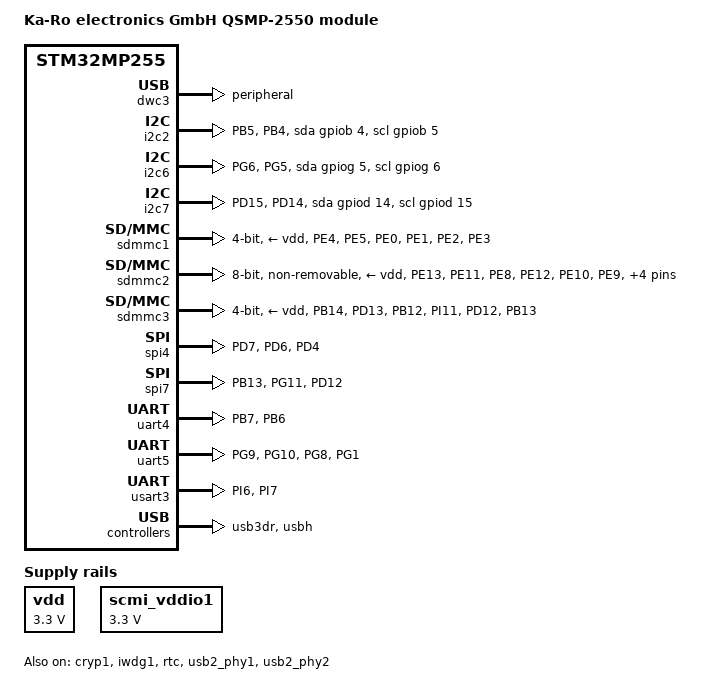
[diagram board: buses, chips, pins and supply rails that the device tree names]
// SPDX-License-Identifier: (GPL-2.0-only OR BSD-3-Clause)
/*
 * Copyright (C) 2024 Lothar Waßmann <LW@KARO-electronics.de>
 */

/dts-v1/;

#include <dt-bindings/gpio/gpio.h>
#include <dt-bindings/interrupt-controller/irq.h>
#include <dt-bindings/pinctrl/stm32-pinfunc.h>
#include <dt-bindings/regulator/nxp,pca9450-regulator.h>
#include "stm32mp25-karo-resmem.dtsi"
#include "stm32mp255.dtsi"
#include "stm32mp25xf.dtsi"
#include "stm32mp25xxak-pinctrl.dtsi"

/ {
	model = "Ka-Ro electronics GmbH QSMP-2550 module";
	compatible = "karo,stm32mp255f-qsmp-2550", "karo,qsmp", "st,stm32mp255";

	aliases {
		can0 = &m_can1;
		can1 = &m_can2;
		csi2host = &csi;
		dcmipp = &dcmipp;
		ethernet0 = &eth1;
		ethernet1 = &eth2;
		i2c0 = &i2c2;
		i2c1 = &i2c6;
		i2c2 = &i2c7;
		mmc0 = &sdmmc2;
		mmc1 = &sdmmc1;
		mmc2 = &sdmmc3;
		sai1 = &sai1;
		serial0 = &uart4;
		serial1 = &usart3;
		serial2 = &uart5;
		spi0 = &spi4;
		spi1 = &spi7;
		usb-host = &usbh;
		usbotg = &dwc3;
	};

	chosen {
		stdout-path = "serial0:115200n8";
	};

	vdd: regulator-vdd {
		compatible = "regulator-fixed";
		regulator-name = "vdd";
		regulator-min-microvolt = <3300000>;
		regulator-max-microvolt = <3300000>;
		regulator-always-on;
	};
};

&cryp1 {
	status = "okay";
};

&dwc3 {
	usb-role-switch;
	dr_mode = "peripheral";
};

&hpdma {
	memory-region = <&hpdma1_lli>;
};

&hpdma2 {
	memory-region = <&hpdma2_lli>;
};

&hpdma3 {
	memory-region = <&hpdma3_lli>;
};

&i2c2 {
	pinctrl-names = "default", "sleep";
	pinctrl-0 = <&i2c2_pins>;
	pinctrl-1 = <&i2c2_sleep_pins>;
	scl-gpios = <&gpiob 5 GPIO_ACTIVE_HIGH>;
	sda-gpios = <&gpiob 4 GPIO_ACTIVE_HIGH>;
	status = "okay";
};

&i2c6 {
	pinctrl-names = "default", "sleep";
	pinctrl-0 = <&i2c6_pins>;
	pinctrl-1 = <&i2c6_sleep_pins>;
	scl-gpios = <&gpiog 6 GPIO_ACTIVE_HIGH>;
	sda-gpios = <&gpiog 5 GPIO_ACTIVE_HIGH>;
	status = "okay";
};

&i2c7 {
	pinctrl-names = "default", "sleep";
	pinctrl-0 = <&i2c7_pins>;
	pinctrl-1 = <&i2c7_sleep_pins>;
	scl-gpios = <&gpiod 15 GPIO_ACTIVE_HIGH>;
	sda-gpios = <&gpiod 14 GPIO_ACTIVE_HIGH>;
	status = "okay";
};

&iwdg1 {
	status = "okay";
};

&rtc {
	status = "okay";
};

&scmi_regu {
	scmi_vddcore: voltd-vddcore@a {
		reg = <VOLTD_SCMI_PCA9450_BUCK1>;
		regulator-name = "vddcore";
	};

	scmi_v1v8: voltd-v1v8@e {
		reg = <VOLTD_SCMI_PCA9450_BUCK5>;
		regulator-name = "v1v8";
	};

	scmi_vddio_sdcard: voltd-vddio-sdcard@13 {
		reg = <VOLTD_SCMI_PCA9450_LDO3>;
		regulator-name = "vddio_sdcard";
	};
};

&scmi_vddio1 {
	regulator-min-microvolt = <3300000>;
	regulator-max-microvolt = <3300000>;
};

&sdmmc1 {
	/* SD card slot #1 */
	pinctrl-names = "default", "opendrain", "sleep";
	pinctrl-0 = <&sdmmc1_pins>;
	pinctrl-1 = <&sdmmc1_opendrain_pins>;
	pinctrl-2 = <&sdmmc1_sleep_pins>;
	disable-wp;
	st,neg-edge;
	bus-width = <4>;
	vmmc-supply = <&vdd>;
	vqmmc-supply = <&scmi_vddio1>;
	no-1-8-v;
};

&sdmmc2 {
	/* eMMC */
	pinctrl-names = "default", "opendrain", "sleep";
	pinctrl-0 = <&sdmmc2_pins>;
	pinctrl-1 = <&sdmmc2_opendrain_pins>;
	pinctrl-2 = <&sdmmc2_sleep_pins>;
	bus-width = <8>;
	vmmc-supply = <&vdd>;
	vqmmc-supply = <&scmi_vddio2>;
	mmc-ddr-1_8v;
	mmc-hs200-1_8v;
	no-sd;
	no-sdio;
	st,neg-edge;
	non-removable;
	status = "okay";
};

&sdmmc3 {
	/* SD card slot #2 */
	pinctrl-names = "default", "opendrain", "sleep";
	pinctrl-0 = <&sdmmc3_pins>;
	pinctrl-1 = <&sdmmc3_opendrain_pins>;
	pinctrl-2 = <&sdmmc3_sleep_pins>;
	disable-wp;
	st,neg-edge;
	bus-width = <4>;
	vmmc-supply = <&vdd>;
	vqmmc-supply = <&scmi_vddio1>;
	no-1-8-v;
};

&spi4 {
	pinctrl-names = "default", "sleep";
	pinctrl-0 = <&spi4_pins>;
	pinctrl-1 = <&spi4_sleep_pins>;
};

&spi7 {
	pinctrl-names = "default", "sleep";
	pinctrl-0 = <&spi7_pins>;
	pinctrl-1 = <&spi7_sleep_pins>;
};

&uart4 {
	/* serial console */
	pinctrl-names = "default", "idle", "sleep";
	pinctrl-0 = <&uart4_pins>;
	pinctrl-1 = <&uart4_idle_pins>;
	pinctrl-2 = <&uart4_sleep_pins>;
	status = "okay";
};

&uart5 {
	pinctrl-names = "default", "idle", "sleep";
	pinctrl-0 = <&uart5_pins &uart5_rtscts_pins>;
	pinctrl-1 = <&uart5_idle_pins &uart5_rtscts_idle_pins>;
	pinctrl-2 = <&uart5_sleep_pins &uart5_rtscts_sleep_pins>;
	status = "okay";
};

&usart3 {
	pinctrl-names = "default", "idle", "sleep";
	pinctrl-0 = <&usart3_pins>;
	pinctrl-1 = <&usart3_idle_pins>;
	pinctrl-2 = <&usart3_sleep_pins>;
	status = "okay";
};

&usb2_phy1 {
	vdd33-supply = <&vdd>;
	status = "okay";
};

&usb2_phy2 {
	vdd33-supply = <&vdd>;
	status = "okay";
};

&usb3dr {
	status = "okay";
};

&usbh {
	status = "okay";
};

&pinctrl {
	i2c2_pins: i2c2-pins {
		pins {
			pinmux = <
				  STM32_PINMUX('B', 5, AF9)	/* I2C2_SCL */
				  STM32_PINMUX('B', 4, AF9)	/* I2C2_SDA */
			>;
			bias-pull-up;
			drive-open-drain;
			slew-rate = <0>;
		};
	};

	i2c2_sleep_pins: i2c2-sleep-pins {
		pins {
			pinmux = <
				  STM32_PINMUX('B', 5, ANALOG)	/* I2C2_SCL */
				  STM32_PINMUX('B', 4, ANALOG)	/* I2C2_SDA */
			>;
			bias-pull-up;
		};
	};

	i2c6_pins: i2c6-pins {
		pins {
			pinmux = <
				  STM32_PINMUX('G', 6, AF9)	/* I2C6_SCL */
				  STM32_PINMUX('G', 5, AF9)	/* I2C6_SDA */
			>;
			bias-pull-up;
			drive-open-drain;
			slew-rate = <0>;
		};
	};

	i2c6_sleep_pins: i2c6-sleep-pins {
		pins {
			pinmux = <
				  STM32_PINMUX('G', 6, ANALOG)	/* I2C6_SCL */
				  STM32_PINMUX('G', 5, ANALOG)	/* I2C6_SDA */
			>;
			bias-pull-up;
		};
	};

	i2c7_pins: i2c7-pins {
		pins {
			pinmux = <
				  STM32_PINMUX('D', 15, AF10)	/* I2C7_SCL */
				  STM32_PINMUX('D', 14, AF10)	/* I2C7_SDA */
			>;
			bias-pull-up;
			drive-open-drain;
			slew-rate = <0>;
		};
	};

	i2c7_sleep_pins: i2c7-sleep-pins {
		pins {
			pinmux = <
				  STM32_PINMUX('D', 15, ANALOG)	/* I2C7_SCL */
				  STM32_PINMUX('D', 14, ANALOG)	/* I2C7_SDA */
			>;
			bias-pull-up;
		};
	};

	sdmmc1_pins: sdmmc1-pins {
		pins1 {
			pinmux = <
				  STM32_PINMUX('E', 4, AF10)	/* SDMMC1_D0 */
				  STM32_PINMUX('E', 5, AF10)	/* SDMMC1_D1 */
				  STM32_PINMUX('E', 0, AF10)	/* SDMMC1_D2 */
				  STM32_PINMUX('E', 1, AF10)	/* SDMMC1_D3 */
				  STM32_PINMUX('E', 2, AF10)	/* SDMMC1_CMD */
			>;
			bias-disable;
			drive-push-pull;
			slew-rate = <2>;
		};

		pins2 {
			pinmux = <STM32_PINMUX('E', 3, AF10)>;	/* SDMMC1_CK */
			bias-disable;
			drive-push-pull;
			slew-rate = <3>;
		};
	};

	sdmmc1_opendrain_pins: sdmmc1-opendrain-pins {
		pins1 {
			pinmux = <
				  STM32_PINMUX('E', 4, AF10)	/* SDMMC1_D0 */
				  STM32_PINMUX('E', 5, AF10)	/* SDMMC1_D1 */
				  STM32_PINMUX('E', 0, AF10)	/* SDMMC1_D2 */
				  STM32_PINMUX('E', 1, AF10)	/* SDMMC1_D3 */
			>;
			bias-disable;
			drive-push-pull;
			slew-rate = <2>;
		};

		pins2 {
			pinmux = <STM32_PINMUX('E', 3, AF10)>;	/* SDMMC1_CK */
			bias-disable;
			drive-push-pull;
			slew-rate = <3>;
		};

		pins3 {
			pinmux = <STM32_PINMUX('E', 2, AF10)>;	/* SDMMC1_CMD */
			bias-disable;
			drive-open-drain;
			slew-rate = <2>;
		};
	};

	sdmmc1_sleep_pins: sdmmc1-sleep-pins {
		pins {
			pinmux = <
				  STM32_PINMUX('E', 4, ANALOG)	/* SDMMC1_D0 */
				  STM32_PINMUX('E', 5, ANALOG)	/* SDMMC1_D1 */
				  STM32_PINMUX('E', 0, ANALOG)	/* SDMMC1_D2 */
				  STM32_PINMUX('E', 1, ANALOG)	/* SDMMC1_D3 */
				  STM32_PINMUX('E', 3, ANALOG)	/* SDMMC1_CK */
				  STM32_PINMUX('E', 2, ANALOG)	/* SDMMC1_CMD */
			>;
		};
	};

	sdmmc2_pins: sdmmc2-pins {
		pins1 {
			pinmux = <
				  STM32_PINMUX('E', 13, AF12)	/* SDMMC2_D0 */
				  STM32_PINMUX('E', 11, AF12)	/* SDMMC2_D1 */
				  STM32_PINMUX('E', 8, AF12)	/* SDMMC2_D2 */
				  STM32_PINMUX('E', 12, AF12)	/* SDMMC2_D3 */
				  STM32_PINMUX('E', 10, AF12)	/* SDMMC2_D4 */
				  STM32_PINMUX('E', 9, AF12)	/* SDMMC2_D5 */
				  STM32_PINMUX('E', 6, AF12)	/* SDMMC2_D6 */
				  STM32_PINMUX('E', 7, AF12)	/* SDMMC2_D7 */
				  STM32_PINMUX('E', 15, AF12)	/* SDMMC2_CMD */
			>;
			bias-disable;
			drive-push-pull;
			slew-rate = <2>;
		};

		pins2 {
			pinmux = <STM32_PINMUX('E', 14, AF12)>;	/* SDMMC2_CK */
			bias-disable;
			drive-push-pull;
			slew-rate = <3>;
		};
	};

	sdmmc2_opendrain_pins: sdmmc2-opendrain-pins {
		pins1 {
			pinmux = <
				  STM32_PINMUX('E', 13, AF12)	/* SDMMC2_D0 */
				  STM32_PINMUX('E', 11, AF12)	/* SDMMC2_D1 */
				  STM32_PINMUX('E', 8, AF12)	/* SDMMC2_D2 */
				  STM32_PINMUX('E', 12, AF12)	/* SDMMC2_D3 */
				  STM32_PINMUX('E', 10, AF12)	/* SDMMC2_D4 */
				  STM32_PINMUX('E', 9, AF12)	/* SDMMC2_D5 */
				  STM32_PINMUX('E', 6, AF12)	/* SDMMC2_D6 */
				  STM32_PINMUX('E', 7, AF12)	/* SDMMC2_D7 */
			>;
			bias-disable;
			drive-push-pull;
			slew-rate = <2>;
		};

		pins2 {
			pinmux = <STM32_PINMUX('E', 14, AF12)>;	/* SDMMC2_CK */
			bias-disable;
			drive-push-pull;
			slew-rate = <3>;
		};

		pins3 {
			pinmux = <STM32_PINMUX('E', 15, AF12)>;	/* SDMMC2_CMD */
			bias-pull-up;
			drive-open-drain;
			slew-rate = <2>;
		};
	};

	sdmmc2_sleep_pins: sdmmc2-sleep-pins {
		pins {
			pinmux = <
				  STM32_PINMUX('E', 13, ANALOG)	/* SDMMC2_D0 */
				  STM32_PINMUX('E', 11, ANALOG)	/* SDMMC2_D1 */
				  STM32_PINMUX('E', 8, ANALOG)	/* SDMMC2_D2 */
				  STM32_PINMUX('E', 12, ANALOG)	/* SDMMC2_D3 */
				  STM32_PINMUX('E', 10, ANALOG)	/* SDMMC2_D4 */
				  STM32_PINMUX('E', 9, ANALOG)	/* SDMMC2_D5 */
				  STM32_PINMUX('E', 6, ANALOG)	/* SDMMC2_D6 */
				  STM32_PINMUX('E', 7, ANALOG)	/* SDMMC2_D7 */
				  STM32_PINMUX('E', 14, ANALOG)	/* SDMMC2_CK */
				  STM32_PINMUX('E', 15, ANALOG)	/* SDMMC2_CMD */
			>;
		};
	};

	sdmmc3_pins: sdmmc3-pins {
		pins1 {
			pinmux = <
				  STM32_PINMUX('B', 14, AF10)	/* SDMMC3_D0 */
				  STM32_PINMUX('D', 13, AF10)	/* SDMMC3_D1 */
				  STM32_PINMUX('B', 12, AF10)	/* SDMMC3_D2 */
				  STM32_PINMUX('I', 11, AF10)	/* SDMMC3_D3 */
				  STM32_PINMUX('D', 12, AF10)	/* SDMMC3_CMD */
			>;
			bias-disable;
			drive-push-pull;
			slew-rate = <2>;
		};

		pins2 {
			pinmux = <STM32_PINMUX('B', 13, AF10)>;	/* SDMMC3_CK */
			bias-disable;
			drive-push-pull;
			slew-rate = <3>;
		};
	};

	sdmmc3_opendrain_pins: sdmmc3-opendrain-pins {
		pins1 {
			pinmux = <
				  STM32_PINMUX('B', 14, AF10)	/* SDMMC3_D0 */
				  STM32_PINMUX('D', 13, AF10)	/* SDMMC3_D1 */
				  STM32_PINMUX('B', 12, AF10)	/* SDMMC3_D2 */
				  STM32_PINMUX('I', 11, AF10)	/* SDMMC3_D3 */
			>;
			bias-disable;
			drive-push-pull;
			slew-rate = <2>;
		};

		pins2 {
			pinmux = <STM32_PINMUX('B', 13, AF10)>;	/* SDMMC3_CK */
			bias-disable;
			drive-push-pull;
			slew-rate = <3>;
		};

		pins3 {
			pinmux = <STM32_PINMUX('D', 12, AF10)>;	/* SDMMC3_CMD */
			bias-disable;
			drive-open-drain;
			slew-rate = <2>;
		};
	};

	sdmmc3_sleep_pins: sdmmc3-sleep-pins {
		pins {
			pinmux = <
				  STM32_PINMUX('B', 14, ANALOG)	/* SDMMC3_D0 */
				  STM32_PINMUX('D', 13, ANALOG)	/* SDMMC3_D1 */
				  STM32_PINMUX('B', 12, ANALOG)	/* SDMMC3_D2 */
				  STM32_PINMUX('I', 11, ANALOG)	/* SDMMC3_D3 */
				  STM32_PINMUX('D', 12, ANALOG)	/* SDMMC3_CMD */
				  STM32_PINMUX('B', 13, ANALOG)	/* SDMMC3_CK */
			>;
		};
	};

	spi4_pins: spi4-pins {
		pins1 {
			pinmux = <
				  STM32_PINMUX('D', 7, AF1)	/* SPI4_SCLK */
				  STM32_PINMUX('D', 6, AF1)	/* SPI4_MOSI */
			>;
			bias-disable;
		};

		pins2 {
			pinmux = <
				  STM32_PINMUX('D', 4, AF1)	/* SPI4_MISO */
			>;
			bias-pull-up;
		};
	};

	spi4_sleep_pins: spi4-sleep-pins {
		pins {
			pinmux = <
				  STM32_PINMUX('D', 7, ANALOG)	/* SPI4_SCLK */
				  STM32_PINMUX('D', 6, ANALOG)	/* SPI4_MOSI */
				  STM32_PINMUX('D', 4, ANALOG)	/* SPI4_MISO */
			>;
			bias-pull-up;
		};
	};

	spi7_pins: spi7-pins {
		pins1 {
			pinmux = <
				  STM32_PINMUX('B', 13, AF2)	/* SPI7_SCLK */
				  STM32_PINMUX('G', 11, AF2)	/* SPI7_MOSI */
			>;
			bias-disable;
		};

		pins2 {
			pinmux = <
				  STM32_PINMUX('D', 12, AF1)	/* SPI7_MISO */
			>;
			bias-pull-up;
		};
	};

	spi7_sleep_pins: spi7-sleep-pins {
		pins {
			pinmux = <
				  STM32_PINMUX('B', 13, ANALOG)	/* SPI7_SCLK */
				  STM32_PINMUX('G', 11, ANALOG)	/* SPI7_MOSI */
				  STM32_PINMUX('D', 12, ANALOG)	/* SPI7_MISO */
			>;
			bias-pull-up;
		};
	};

	uart4_pins: uart4-pins {
		pins1 {
			pinmux = <STM32_PINMUX('B', 7, AF3)>;	/* UART4_TX */
			bias-disable;
			drive-push-pull;
			slew-rate = <0>;
		};

		pins2 {
			pinmux = <STM32_PINMUX('B', 6, AF3)>;	/* UART4_RX */
			bias-pull-up;
		};
	};

	uart4_idle_pins: uart4-idle-pins {
		pins1 {
			pinmux = <STM32_PINMUX('B', 7, ANALOG)>; /* UART4_TX */
			bias-disable;
			drive-push-pull;
			slew-rate = <0>;
		};

		pins2 {
			pinmux = <STM32_PINMUX('B', 6, AF3)>;	/* UART4_RX */
			bias-pull-up;
		};
	};

	uart4_sleep_pins: uart4-sleep-pins {
		pins1 {
			pinmux = <
				  STM32_PINMUX('B', 7, ANALOG)	/* UART4_TX */
				  STM32_PINMUX('B', 6, ANALOG)	/* UART4_RX */
			>;
			bias-pull-up;
		};
	};

	uart5_pins: uart5-pins {
		pins1 {
			pinmux = <STM32_PINMUX('G', 9, AF5)>;	/* UART5_TX */
			bias-disable;
			drive-push-pull;
			slew-rate = <0>;
		};

		pins2 {
			pinmux = <STM32_PINMUX('G', 10, AF5)>;	/* UART5_RX */
			bias-pull-up;
		};
	};

	uart5_idle_pins: uart5-idle-pins {
		pins1 {
			pinmux = <STM32_PINMUX('G', 9, ANALOG)>; /* UART5_TX */
		};

		pins2 {
			pinmux = <STM32_PINMUX('G', 10, AF5)>;	/* UART5_RX */
			bias-pull-up;
		};
	};

	uart5_rtscts_pins: uart5-rtscts-pins {
		pins1 {
			pinmux = <STM32_PINMUX('G', 8, AF5)>;	/* UART5_RTS */
			bias-disable;
			drive-push-pull;
			slew-rate = <0>;
		};

		pins2 {
			pinmux = <STM32_PINMUX('G', 1, AF5)>;	/* UART5_CTS_NSS */
			bias-pull-up;
		};
	};

	uart5_rtscts_idle_pins: uart5-rtscts-idle-pins {
		pins1 {
			pinmux = <STM32_PINMUX('G', 8, AF5)>;	/* UART5_RTS */
			bias-disable;
			drive-push-pull;
			slew-rate = <0>;
		};

		pins2 {
			pinmux = <STM32_PINMUX('G', 1, ANALOG)>; /* UART5_CTS_NSS */
			bias-pull-up;
		};
	};

	uart5_rtscts_sleep_pins: uart5-rtscts-sleep-pins {
		pins1 {
			pinmux = <
				  STM32_PINMUX('G', 8, ANALOG)	/* UART5_RTS */
				  STM32_PINMUX('G', 1, ANALOG)	/* UART5_CTS_NSS */
			>;
			bias-pull-up;
		};
	};

	uart5_sleep_pins: uart5-sleep-pins {
		pins {
			pinmux = <
				  STM32_PINMUX('D', 3, ANALOG)	/* UART5_TX */
				  STM32_PINMUX('D', 0, ANALOG)	/* UART5_RX */
			>;
		};
	};

	usart3_pins: usart3-pins {
		pins1 {
			pinmux = <STM32_PINMUX('I', 6, AF6)>;	/* USART3_TX */
			bias-disable;
			drive-push-pull;
			slew-rate = <0>;
		};

		pins2 {
			pinmux = <STM32_PINMUX('I', 7, AF6)>;	/* USART3_RX */
			bias-pull-up;
		};
	};

	usart3_idle_pins: usart3-idle-pins {
		pins1 {
			pinmux = <STM32_PINMUX('I', 6, ANALOG)>; /* USART3_TX */
		};

		pins2 {
			pinmux = <STM32_PINMUX('I', 7, AF6)>; /* USART3_RX */
			bias-pull-up;
		};
	};

	usart3_sleep_pins: usart3-sleep-pins {
		pins {
			pinmux = <
				  STM32_PINMUX('I', 6, ANALOG)	/* USART3_TX */
				  STM32_PINMUX('I', 7, ANALOG)	/* USART3_RX */
			>;
		};
	};
};
